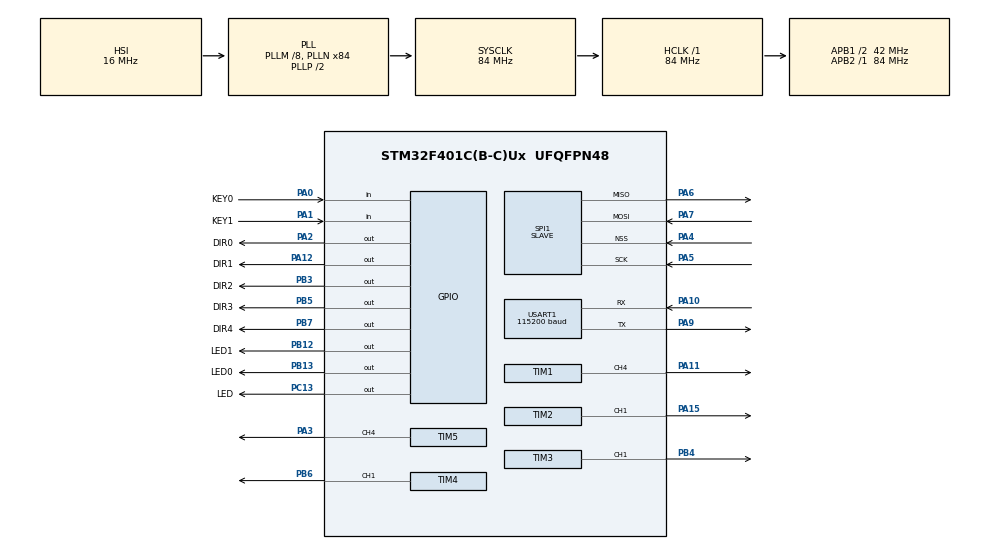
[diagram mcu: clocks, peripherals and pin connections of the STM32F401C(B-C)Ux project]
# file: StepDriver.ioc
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Dma.Request0=SPI1_RX
Dma.Request1=TIM3_CH1/TRIG
Dma.Request2=TIM4_CH1
Dma.Request3=TIM1_CH4/TRIG/COM
Dma.Request4=TIM2_CH1
Dma.Request5=TIM5_CH4/TRIG
Dma.SPI1_RX.0.Direction=DMA_PERIPH_TO_MEMORY
Dma.SPI1_RX.0.FIFOMode=DMA_FIFOMODE_ENABLE
Dma.SPI1_RX.0.FIFOThreshold=DMA_FIFO_THRESHOLD_FULL
Dma.SPI1_RX.0.Instance=DMA2_Stream0
Dma.SPI1_RX.0.MemBurst=DMA_MBURST_SINGLE
Dma.SPI1_RX.0.MemDataAlignment=DMA_MDATAALIGN_BYTE
Dma.SPI1_RX.0.MemInc=DMA_MINC_ENABLE
Dma.SPI1_RX.0.Mode=DMA_CIRCULAR
Dma.SPI1_RX.0.PeriphBurst=DMA_PBURST_SINGLE
Dma.SPI1_RX.0.PeriphDataAlignment=DMA_PDATAALIGN_BYTE
Dma.SPI1_RX.0.PeriphInc=DMA_PINC_DISABLE
Dma.SPI1_RX.0.Priority=DMA_PRIORITY_LOW
Dma.TIM1_CH4/TRIG/COM.3.Direction=DMA_MEMORY_TO_PERIPH
Dma.TIM1_CH4/TRIG/COM.3.FIFOMode=DMA_FIFOMODE_DISABLE
Dma.TIM1_CH4/TRIG/COM.3.Instance=DMA2_Stream4
Dma.TIM1_CH4/TRIG/COM.3.MemDataAlignment=DMA_MDATAALIGN_HALFWORD
Dma.TIM1_CH4/TRIG/COM.3.MemInc=DMA_MINC_ENABLE
Dma.TIM1_CH4/TRIG/COM.3.Mode=DMA_NORMAL
Dma.TIM1_CH4/TRIG/COM.3.PeriphDataAlignment=DMA_PDATAALIGN_HALFWORD
Dma.TIM1_CH4/TRIG/COM.3.PeriphInc=DMA_PINC_DISABLE
Dma.TIM1_CH4/TRIG/COM.3.Priority=DMA_PRIORITY_LOW
Dma.TIM2_CH1.4.Direction=DMA_MEMORY_TO_PERIPH
Dma.TIM2_CH1.4.FIFOMode=DMA_FIFOMODE_DISABLE
Dma.TIM2_CH1.4.Instance=DMA1_Stream5
Dma.TIM2_CH1.4.MemDataAlignment=DMA_MDATAALIGN_HALFWORD
Dma.TIM2_CH1.4.MemInc=DMA_MINC_ENABLE
Dma.TIM2_CH1.4.Mode=DMA_NORMAL
Dma.TIM2_CH1.4.PeriphDataAlignment=DMA_PDATAALIGN_HALFWORD
Dma.TIM2_CH1.4.PeriphInc=DMA_PINC_DISABLE
Dma.TIM2_CH1.4.Priority=DMA_PRIORITY_LOW
Dma.TIM3_CH1/TRIG.1.Direction=DMA_MEMORY_TO_PERIPH
Dma.TIM3_CH1/TRIG.1.FIFOMode=DMA_FIFOMODE_DISABLE
Dma.TIM3_CH1/TRIG.1.Instance=DMA1_Stream4
Dma.TIM3_CH1/TRIG.1.MemDataAlignment=DMA_MDATAALIGN_HALFWORD
Dma.TIM3_CH1/TRIG.1.MemInc=DMA_MINC_ENABLE
Dma.TIM3_CH1/TRIG.1.Mode=DMA_NORMAL
Dma.TIM3_CH1/TRIG.1.PeriphDataAlignment=DMA_PDATAALIGN_HALFWORD
Dma.TIM3_CH1/TRIG.1.PeriphInc=DMA_PINC_DISABLE
Dma.TIM3_CH1/TRIG.1.Priority=DMA_PRIORITY_LOW
Dma.TIM4_CH1.2.Direction=DMA_MEMORY_TO_PERIPH
Dma.TIM4_CH1.2.FIFOMode=DMA_FIFOMODE_DISABLE
Dma.TIM4_CH1.2.Instance=DMA1_Stream0
Dma.TIM4_CH1.2.MemDataAlignment=DMA_MDATAALIGN_HALFWORD
Dma.TIM4_CH1.2.MemInc=DMA_MINC_ENABLE
Dma.TIM4_CH1.2.Mode=DMA_NORMAL
Dma.TIM4_CH1.2.PeriphDataAlignment=DMA_PDATAALIGN_HALFWORD
Dma.TIM4_CH1.2.PeriphInc=DMA_PINC_DISABLE
Dma.TIM4_CH1.2.Priority=DMA_PRIORITY_LOW
Dma.TIM5_CH4/TRIG.5.Direction=DMA_MEMORY_TO_PERIPH
Dma.TIM5_CH4/TRIG.5.FIFOMode=DMA_FIFOMODE_DISABLE
Dma.TIM5_CH4/TRIG.5.Instance=DMA1_Stream1
Dma.TIM5_CH4/TRIG.5.MemDataAlignment=DMA_MDATAALIGN_HALFWORD
Dma.TIM5_CH4/TRIG.5.MemInc=DMA_MINC_ENABLE
Dma.TIM5_CH4/TRIG.5.Mode=DMA_NORMAL
Dma.TIM5_CH4/TRIG.5.PeriphDataAlignment=DMA_PDATAALIGN_HALFWORD
Dma.TIM5_CH4/TRIG.5.PeriphInc=DMA_PINC_DISABLE
Dma.TIM5_CH4/TRIG.5.Priority=DMA_PRIORITY_LOW
Mcu.Family=STM32F4
Mcu.Name=STM32F401C(B-C)Ux
Mcu.Package=UFQFPN48
NVIC.DMA1_Stream0_IRQn=true\:0\:0\:false\:false\:true\:false\:true\:true
NVIC.DMA1_Stream1_IRQn=true\:0\:0\:false\:false\:true\:false\:true\:true
NVIC.DMA1_Stream4_IRQn=true\:0\:0\:false\:false\:true\:false\:true\:true
NVIC.DMA1_Stream5_IRQn=true\:0\:0\:false\:false\:true\:false\:true\:true
NVIC.DMA2_Stream0_IRQn=true\:0\:0\:false\:false\:true\:false\:true\:true
NVIC.DMA2_Stream4_IRQn=true\:0\:0\:false\:false\:true\:false\:true\:true
NVIC.PriorityGroup=NVIC_PRIORITYGROUP_4
NVIC.TIM1_UP_TIM10_IRQn=true\:15\:0\:false\:false\:true\:false\:true\:true
PA0-WKUP.GPIO_Label=KEY0
PA0-WKUP.Signal=GPIO_Input
PA1.GPIO_Label=KEY1
PA1.Signal=GPIO_Input
PA10.Mode=Asynchronous
PA10.Signal=USART1_RX
PA11.Signal=S_TIM1_CH4
PA12.GPIO_Label=DIR1
PA12.Signal=GPIO_Output
PA13.Mode=Serial_Wire
PA13.Signal=SYS_JTMS-SWDIO
PA14.Mode=Serial_Wire
PA14.Signal=SYS_JTCK-SWCLK
PA15.Signal=S_TIM2_CH1_ETR
PA2.GPIO_Label=DIR0
PA2.Signal=GPIO_Output
PA3.Signal=S_TIM5_CH4
PA4.Mode=NSS_Signal_Hard_Input
PA4.Signal=SPI1_NSS
PA5.Mode=Full_Duplex_Slave
PA5.Signal=SPI1_SCK
PA6.Mode=Full_Duplex_Slave
PA6.Signal=SPI1_MISO
PA7.Mode=Full_Duplex_Slave
PA7.Signal=SPI1_MOSI
PA9.Mode=Asynchronous
PA9.Signal=USART1_TX
PB12.GPIO_Label=LED1
PB12.Signal=GPIO_Output
PB13.GPIO_Label=LED0
PB13.Signal=GPIO_Output
PB3.GPIO_Label=DIR2
PB3.Signal=GPIO_Output
PB4.Signal=S_TIM3_CH1
PB5.GPIO_Label=DIR3
PB5.Signal=GPIO_Output
PB6.Signal=S_TIM4_CH1
PB7.GPIO_Label=DIR4
PB7.Signal=GPIO_Output
PC13-ANTI_TAMP.GPIO_Label=LED
PC13-ANTI_TAMP.GPIO_PuPd=GPIO_PULLUP
PC13-ANTI_TAMP.Signal=GPIO_Output
PH0\ -\ OSC_IN.Mode=HSE-External-Oscillator
PH0\ -\ OSC_IN.Signal=RCC_OSC_IN
PH1\ -\ OSC_OUT.Mode=HSE-External-Oscillator
PH1\ -\ OSC_OUT.Signal=RCC_OSC_OUT
ProjectManager.HeapSize=0x200
ProjectManager.StackSize=0x400
ProjectManager.TargetToolchain=MDK-ARM V5.32
RCC.48MHZClocksFreq_Value=42000000
RCC.AHBFreq_Value=84000000
RCC.APB1CLKDivider=RCC_HCLK_DIV2
RCC.APB1Freq_Value=42000000
RCC.APB1TimFreq_Value=84000000
RCC.APB2Freq_Value=84000000
RCC.APB2TimFreq_Value=84000000
RCC.CortexFreq_Value=84000000
RCC.FLatency=FLASH_LATENCY_2
RCC.HCLKFreq_Value=84000000
RCC.HSE_VALUE=25000000
RCC.HSI_VALUE=16000000
RCC.LSE_VALUE=32768
RCC.PLLM=8
RCC.PLLN=84
RCC.SYSCLKFreq_VALUE=84000000
RCC.SYSCLKSource=RCC_SYSCLKSOURCE_PLLCLK
RCC.VCOOutputFreq_Value=168000000
SH.S_TIM1_CH4.0=TIM1_CH4,PWM Generation4 CH4
SH.S_TIM2_CH1_ETR.0=TIM2_CH1,PWM Generation1 CH1
SH.S_TIM3_CH1.0=TIM3_CH1,PWM Generation1 CH1
SH.S_TIM4_CH1.0=TIM4_CH1,PWM Generation1 CH1
SH.S_TIM5_CH4.0=TIM5_CH4,PWM Generation4 CH4
SPI1.CLKPhase=SPI_PHASE_1EDGE
SPI1.CLKPolarity=SPI_POLARITY_LOW
SPI1.CRCCalculation=SPI_CRCCALCULATION_DISABLE
SPI1.DataSize=SPI_DATASIZE_8BIT
SPI1.Direction=SPI_DIRECTION_2LINES
SPI1.FirstBit=SPI_FIRSTBIT_MSB
SPI1.Mode=SPI_MODE_SLAVE
SPI1.NSS=SPI_NSS_HARD_INPUT
SPI1.TIMode=SPI_TIMODE_DISABLE
SPI1.VirtualNSS=VM_NSSHARD
SPI1.VirtualType=VM_SLAVE
TIM1.AutoReloadPreload=TIM_AUTORELOAD_PRELOAD_DISABLE
TIM1.Channel-PWM\ Generation4\ CH4=TIM_CHANNEL_4
TIM1.ClockDivision=TIM_CLOCKDIVISION_DIV1
TIM1.CounterMode=TIM_COUNTERMODE_UP
TIM1.Period=83
TIM1.Prescaler=0
TIM1.Pulse-PWM\ Generation4\ CH4=42
TIM1.RepetitionCounter=0
TIM1.TIM_MasterOutputTrigger=TIM_TRGO_RESET
TIM1.TIM_MasterSlaveMode=TIM_MASTERSLAVEMODE_DISABLE
TIM2.AutoReloadPreload=TIM_AUTORELOAD_PRELOAD_DISABLE
TIM2.Channel-PWM\ Generation1\ CH1=TIM_CHANNEL_1
TIM2.ClockDivision=TIM_CLOCKDIVISION_DIV1
TIM2.CounterMode=TIM_COUNTERMODE_UP
TIM2.OC1Preload_PWM=ENABLE
TIM2.OCFastMode_PWM-PWM\ Generation1\ CH1=TIM_OCFAST_DISABLE
TIM2.OCMode_PWM-PWM\ Generation1\ CH1=TIM_OCMODE_PWM1
TIM2.OCPolarity_1=TIM_OCPOLARITY_HIGH
TIM2.Period=83
TIM2.Prescaler=0
TIM2.Pulse-PWM\ Generation1\ CH1=42
TIM2.TIM_MasterOutputTrigger=TIM_TRGO_RESET
TIM2.TIM_MasterSlaveMode=TIM_MASTERSLAVEMODE_DISABLE
TIM3.AutoReloadPreload=TIM_AUTORELOAD_PRELOAD_DISABLE
TIM3.Channel-PWM\ Generation1\ CH1=TIM_CHANNEL_1
TIM3.ClockDivision=TIM_CLOCKDIVISION_DIV1
TIM3.CounterMode=TIM_COUNTERMODE_UP
TIM3.OC1Preload_PWM=ENABLE
TIM3.OCFastMode_PWM-PWM\ Generation1\ CH1=TIM_OCFAST_DISABLE
TIM3.OCMode_PWM-PWM\ Generation1\ CH1=TIM_OCMODE_PWM1
TIM3.OCPolarity_1=TIM_OCPOLARITY_HIGH
TIM3.Period=83
TIM3.Prescaler=0
TIM3.Pulse-PWM\ Generation1\ CH1=0
TIM3.TIM_MasterOutputTrigger=TIM_TRGO_RESET
TIM3.TIM_MasterSlaveMode=TIM_MASTERSLAVEMODE_DISABLE
TIM4.AutoReloadPreload=TIM_AUTORELOAD_PRELOAD_ENABLE
TIM4.Channel-PWM\ Generation1\ CH1=TIM_CHANNEL_1
TIM4.ClockDivision=TIM_CLOCKDIVISION_DIV1
TIM4.CounterMode=TIM_COUNTERMODE_UP
TIM4.OC1Preload_PWM=ENABLE
TIM4.OCFastMode_PWM-PWM\ Generation1\ CH1=TIM_OCFAST_DISABLE
TIM4.OCMode_PWM-PWM\ Generation1\ CH1=TIM_OCMODE_PWM1
TIM4.OCPolarity_1=TIM_OCPOLARITY_HIGH
TIM4.Period=84-1
TIM4.Prescaler=0
TIM4.Pulse-PWM\ Generation1\ CH1=42
TIM4.TIM_MasterOutputTrigger=TIM_TRGO_RESET
TIM4.TIM_MasterSlaveMode=TIM_MASTERSLAVEMODE_DISABLE
TIM5.AutoReloadPreload=TIM_AUTORELOAD_PRELOAD_DISABLE
TIM5.Channel-PWM\ Generation4\ CH4=TIM_CHANNEL_4
TIM5.ClockDivision=TIM_CLOCKDIVISION_DIV1
TIM5.CounterMode=TIM_COUNTERMODE_UP
TIM5.Period=83
TIM5.Prescaler=0
TIM5.Pulse-PWM\ Generation4\ CH4=42
TIM5.TIM_MasterOutputTrigger=TIM_TRGO_RESET
TIM5.TIM_MasterSlaveMode=TIM_MASTERSLAVEMODE_DISABLE
USART1.BaudRate=115200
USART1.Mode=MODE_TX_RX
USART1.OverSampling=UART_OVERSAMPLING_16
USART1.Parity=PARITY_NONE
USART1.StopBits=STOPBITS_1
USART1.VirtualMode=VM_ASYNC
USART1.WordLength=WORDLENGTH_8B
VP_TIM1_VS_ClockSourceINT.Mode=Internal
VP_TIM2_VS_ClockSourceINT.Mode=Internal
VP_TIM3_VS_ClockSourceINT.Mode=Internal
VP_TIM4_VS_ClockSourceINT.Mode=Internal
VP_TIM5_VS_ClockSourceINT.Mode=Internal
board=custom

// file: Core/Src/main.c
/* USER CODE BEGIN Header */
/**
 ******************************************************************************
 * @file           : main.c
 * @brief          : Main program body
 ******************************************************************************
 * @attention
 *
 * Copyright (c) 2022 STMicroelectronics.
 * All rights reserved.
 *
 * This software is licensed under terms that can be found in the LICENSE file
 * in the root directory of this software component.
 * If no LICENSE file comes with this software, it is provided AS-IS.
 *
 ******************************************************************************
 */
/* USER CODE END Header */
#include "main.h"
#include "dma.h"
#include "gpio.h"
#include "spi.h"
#include "tim.h"
#include "usart.h"

/* USER CODE BEGIN Includes */
#include "StepHelper.h"
#include "printf.h"
/* USER CODE END Includes */

/* USER CODE BEGIN PV */
stepTypedef steplist[5];

uint8_t spiByteBuff;
uint8_t Buff[16];
int spiReceiveFlag = 1;

/* USER CODE END PV */

void SystemClock_Config(void);
/* USER CODE BEGIN PFP */

void _putchar(char character)
{
    HAL_UART_Transmit(&huart1, (uint8_t*)&character, 1, HAL_MAX_DELAY);
}

void Data_ReFormatData(char* buff, int len, char frameHead)
{
    char record;
    char temp[len];
    int j = 0;

    if (buff[0] == frameHead) {
        return;
    } else {
        for (int i = 0;; i++) {
            if (buff[i] == frameHead) {
                record = i;
                break;
            }
        }
        for (int i = record; i < len; i++) {
            temp[j++] = buff[i];
        }
        for (int i = 0; i < record; i++) {
            temp[j++] = buff[i];
        }
        for (int i = 0; i < len; i++) {
            buff[i] = temp[i];
        }
    }
}

void HAL_SPI_RxCpltCallback(SPI_HandleTypeDef* hspi)
{

    uint32_t startSpd = 0, finalSpd = 0, accTime = 0, StepNum = 0;
    float freq = 0;
    uint8_t dir = 0, useDec = 0;

    if (hspi == &hspi1) {
        // Check buffer
        if (Buff[0] != 0x55 && Buff[15] != 0xAA) {
            Data_ReFormatData((char *)Buff, 16, 0x55);
        }

        // Get ID
        uint8_t motorID = Buff[2];

        // Get Instruction
        uint8_t instruction = Buff[1];

        switch (instruction) {
        case 0x00: // Reset
            HAL_SPI_DMAStop(&hspi1);

            for (int i = 0; i < 5; i++) {
                Step_Init(&steplist[i], steplist[i].phtim, steplist[i].channel, steplist[i].gpioPort, steplist[i].gpioPin, 100, 7000, 5000);
            }

            HAL_SPI_Receive_DMA(&hspi1, Buff, 16);
            break;
        case 0x01: // Init
            // get parameter
            startSpd = *(uint32_t*)&Buff[3];
            finalSpd = *(uint32_t*)&Buff[7];
            accTime = *(uint32_t*)&Buff[11];

            // init
            Step_Init(&steplist[motorID], steplist[motorID].phtim, steplist[motorID].channel, steplist[motorID].gpioPort, steplist[motorID].gpioPin, startSpd, finalSpd, accTime);
            break;
        case 0x02: // Drive as Stepper
            // Check and Close output
            if (steplist[motorID].useAsMotor == 1) {
                steplist[motorID].useAsMotor = 0;
                HAL_TIM_PWM_Stop(steplist[motorID].phtim, steplist[motorID].channel);
            }
            // get parameter
            StepNum = *(uint32_t*)&Buff[3];
            dir = Buff[7];
            useDec = Buff[8];

            // init
            dir = (motorID % 2) ? dir : !dir;
            Step_Prefill(&steplist[motorID], StepNum, dir, Decelerate_USE);
            HAL_TIM_PWM_PulseFinishedCallback(steplist[motorID].phtim);
            break;
        case 0x03: // Abort
            Step_Abort(&steplist[motorID]);
            break;

        case 0x04: // Drive as Motor
            // Close output
            if (steplist[motorID].state != Stop) {
                HAL_TIM_PWM_Stop_DMA(steplist[motorID].phtim, steplist[motorID].channel);
            }
            // Get Data
            freq = *(float*)&Buff[3];
            if (freq == 0) {
                if (steplist[motorID].useAsMotor == 0) {
                    break;
                } else {
                    HAL_TIM_PWM_Start(steplist[motorID].phtim, steplist[motorID].channel);
                }
            }
            dir = Buff[7];

            // Get PSC
            dir = (motorID % 2) ? dir : !dir;
            HAL_GPIO_WritePin(steplist[motorID].gpioPort, steplist[motorID].gpioPin, dir);
            steplist[motorID].phtim->Instance->PSC = (uint16_t)((RCC_MAX_FREQUENCY / (steplist[motorID].phtim->Instance->ARR + 1)) / freq - 1);
            if (steplist[motorID].useAsMotor == 0) {
                HAL_TIM_PWM_Start(steplist[motorID].phtim, steplist[motorID].channel);
                steplist[motorID].useAsMotor = 1;
            }
            break;
        default:
            break;
        }
    }
}

void HAL_TIM_PWM_PulseFinishedCallback(TIM_HandleTypeDef* htim)
{
    for (int i = 0; i < 5; i++) {
        if (htim == steplist[i].phtim) {

            if (Step_IsBuffRdy(&steplist[i])) {
                while (HAL_OK != HAL_TIM_PWM_Start_DMA(steplist[i].phtim, steplist[i].channel, (uint32_t*)Step_GetCurBuffer(&steplist[i]), (uint16_t)Step_BuffUsedLength(&steplist[i])))
                    ;
                Step_BufferUsed(&steplist[i]);
            } else if (steplist[i].state == Stop) {
                HAL_TIM_PWM_Stop_DMA(steplist[i].phtim, steplist[i].channel);
                Step_Unlock(&steplist[i]);
            }

            Step_BuffFill(&steplist[i]);
        }
    }
}

/* USER CODE END PFP */

/* USER CODE BEGIN 0 */

// Command List (16-bytes):
//  In Stepper Mode:
// Reset : byte0-0x55; byte1-Instruction(0x00); byte2-motorID;                               byte3:14-Reserved;                               byte15-0xAA;
// Init  : byte0-0x55; byte1-Instruction(0x01); byte2-motorID; byte3:6-StartSpeed(Hz); byte7:10-FinalSpeed(Hz); byte11:14-AccelerateTime(ms); byte15-0xAA;
// Driver: byte0-0x55; byte1-Instruction(0x02); byte2-motorID; byte3:6-StepNumber(Hz); byte7-Direction; byte8-UseDecelerate;                  byte15-0xAA;
// Abort : byte0-0x55; byte1-Instruction(0x03); byte2-motorID;                               byte3:14-Reserved;                               byte15-0xAA;
//  In Motor Mode:
// Drive : byte0-0x55; byte1-Instruction(0x04); byte2-motorID; byte3:6-Speed(Hz); byte7-Direction;              byte8:14-Reserved;            byte15-0xAA;

/* USER CODE END 0 */

int main(void)
{

    /* MCU Configuration--------------------------------------------------------*/

    /* Reset of all peripherals, Initializes the Flash interface and the Systick. */
    HAL_Init();

    /* Configure the system clock */
    SystemClock_Config();

    /* Initialize all configured peripherals */
    MX_GPIO_Init();
    MX_USART1_UART_Init();
    MX_DMA_Init();
    MX_TIM3_Init();
    MX_TIM4_Init();
    MX_SPI1_Init();
    MX_TIM1_Init();
    MX_TIM2_Init();
    MX_TIM5_Init();
    /* USER CODE BEGIN 2 */
    Step_Init(&steplist[0], &htim5, TIM_CHANNEL_4, DIR0_GPIO_Port, DIR0_Pin, 50, 5000, 500);
    Step_Init(&steplist[1], &htim1, TIM_CHANNEL_4, DIR1_GPIO_Port, DIR1_Pin, 50, 5000, 500);
    Step_Init(&steplist[2], &htim2, TIM_CHANNEL_1, DIR2_GPIO_Port, DIR2_Pin, 50, 5000, 500);
    Step_Init(&steplist[3], &htim3, TIM_CHANNEL_1, DIR3_GPIO_Port, DIR3_Pin, 50, 5000, 500);
    Step_Init(&steplist[4], &htim4, TIM_CHANNEL_1, DIR4_GPIO_Port, DIR4_Pin, 50, 5000, 500);

    // TIM2->CCR1 = 10;

    HAL_SPI_Receive_DMA(&hspi1, Buff, 16);

    /* USER CODE END 2 */

    /* Infinite loop */
    /* USER CODE BEGIN WHILE */
    while (1) {
        HAL_GPIO_TogglePin(LED_GPIO_Port, LED_Pin);
        HAL_Delay(500);
        /* USER CODE END WHILE */

    }
}

void SystemClock_Config(void)
{
    RCC_OscInitTypeDef RCC_OscInitStruct = { 0 };
    RCC_ClkInitTypeDef RCC_ClkInitStruct = { 0 };

    /** Configure the main internal regulator output voltage
     */
    __HAL_RCC_PWR_CLK_ENABLE();
    __HAL_PWR_VOLTAGESCALING_CONFIG(PWR_REGULATOR_VOLTAGE_SCALE2);

    /** Initializes the RCC Oscillators according to the specified parameters
     * in the RCC_OscInitTypeDef structure.
     */
    RCC_OscInitStruct.OscillatorType = RCC_OSCILLATORTYPE_HSI;
    RCC_OscInitStruct.HSIState = RCC_HSI_ON;
    RCC_OscInitStruct.HSICalibrationValue = RCC_HSICALIBRATION_DEFAULT;
    RCC_OscInitStruct.PLL.PLLState = RCC_PLL_ON;
    RCC_OscInitStruct.PLL.PLLSource = RCC_PLLSOURCE_HSI;
    RCC_OscInitStruct.PLL.PLLM = 8;
    RCC_OscInitStruct.PLL.PLLN = 84;
    RCC_OscInitStruct.PLL.PLLP = RCC_PLLP_DIV2;
    RCC_OscInitStruct.PLL.PLLQ = 4;
    if (HAL_RCC_OscConfig(&RCC_OscInitStruct) != HAL_OK) {
        Error_Handler();
    }

    /** Initializes the CPU, AHB and APB buses clocks
     */
    RCC_ClkInitStruct.ClockType = RCC_CLOCKTYPE_HCLK | RCC_CLOCKTYPE_SYSCLK
        | RCC_CLOCKTYPE_PCLK1 | RCC_CLOCKTYPE_PCLK2;
    RCC_ClkInitStruct.SYSCLKSource = RCC_SYSCLKSOURCE_PLLCLK;
    RCC_ClkInitStruct.AHBCLKDivider = RCC_SYSCLK_DIV1;
    RCC_ClkInitStruct.APB1CLKDivider = RCC_HCLK_DIV2;
    RCC_ClkInitStruct.APB2CLKDivider = RCC_HCLK_DIV1;

    if (HAL_RCC_ClockConfig(&RCC_ClkInitStruct, FLASH_LATENCY_2) != HAL_OK) {
        Error_Handler();
    }
}

void Error_Handler(void)
{
    __disable_irq();
    while (1) {
    }
}
